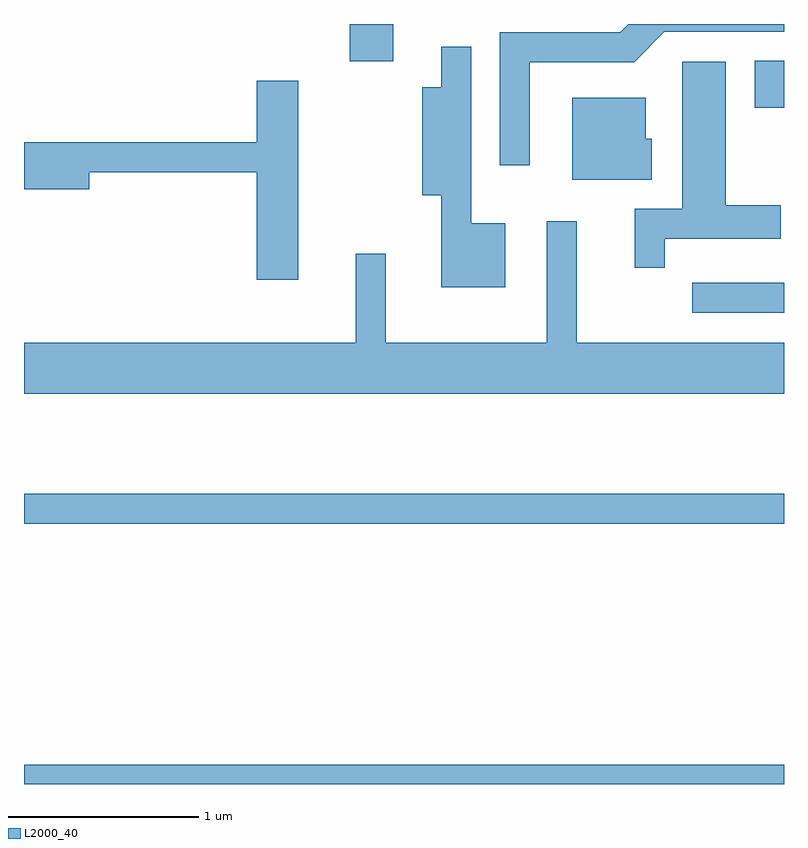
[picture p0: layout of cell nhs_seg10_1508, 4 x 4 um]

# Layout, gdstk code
import gdstk
lib = gdstk.Library(unit=1e-6, precision=1e-09)
def R(c, l, rs):  # rectangles x0, y0, x1, y1
    for r in rs: c.add(gdstk.rectangle(r[:2], r[2:], *l))
def P(c, l, *ps):  # polygons
    for p in ps: c.add(gdstk.Polygon(p, *l))
L2000_40 = (2000, 40)

nhs_seg10_1508 = lib.new_cell('nhs_seg10_1508')
R(nhs_seg10_1508, L2000_40, [(229.611,2118.522,233.611,2118.624), (229.611,2119.891,233.611,2120.049), (233.128,2121.001,233.611,2121.159), (233.456,2122.081,233.611,2122.329), (231.326,2122.326,231.554,2122.522)])
P(nhs_seg10_1508, L2000_40, [(232.274,2122.321),(232.822,2122.321),(232.982,2122.481),(233.611,2122.481),(233.611,2122.522),(232.792,2122.522),(232.749,2122.479),(232.116,2122.479),(232.116,2121.778),(232.274,2121.778)],
  [(232.144,2121.474),(231.964,2121.474),(231.964,2122.403),(231.806,2122.403),(231.806,2122.189),(231.706,2122.189),(231.706,2121.621),(231.806,2121.621),(231.806,2121.136),(232.144,2121.136)],
  [(232.984,2121.391),(233.594,2121.391),(233.594,2121.569),(233.304,2121.569),(233.304,2122.324),(233.076,2122.324),(233.076,2121.549),(232.826,2121.549),(232.826,2121.238),(232.984,2121.238)],
  [(231.054,2122.224),(230.836,2122.224),(230.836,2121.899),(229.611,2121.899),(229.611,2121.651),(229.954,2121.651),(229.954,2121.741),(230.836,2121.741),(230.836,2121.176),(231.054,2121.176)],
  [(232.914,2121.919),(232.884,2121.919),(232.884,2122.134),(232.496,2122.134),(232.496,2121.701),(232.914,2121.701)],
  [(233.611,2120.844),(232.519,2120.844),(232.519,2121.483),(232.361,2121.483),(232.361,2120.844),(231.514,2120.844),(231.514,2121.313),(231.356,2121.313),(231.356,2120.844),(229.611,2120.844),(229.611,2120.576),(233.611,2120.576)])

lib.write_gds('nhs_seg10_1508.gds')
